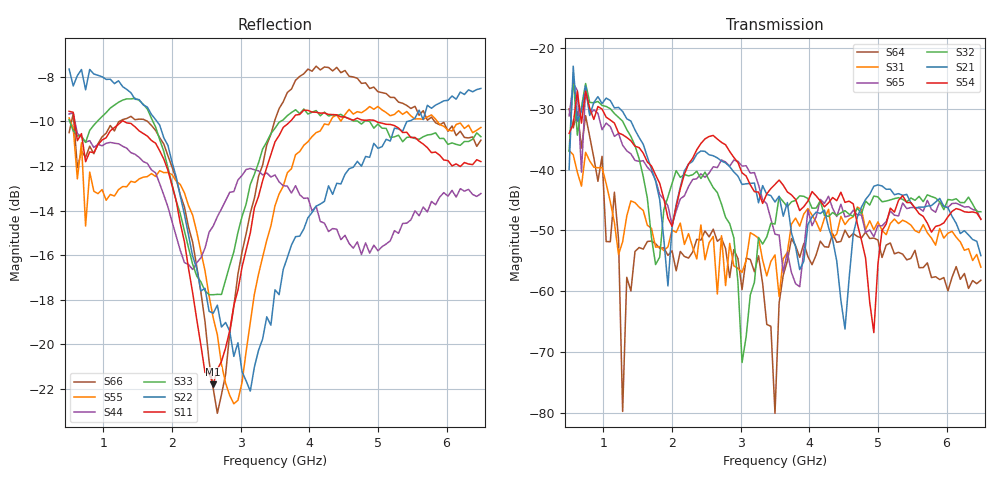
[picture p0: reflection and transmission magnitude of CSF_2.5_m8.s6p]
!Keysight Technologies,M9804A,MY58100912,A.14.10.03
!Date: Thursday, April 27, 2023 10:28:33
!Correction: S11(C  6-Port  )
!S12(C  6-Port  )
!S13(C  6-Port  )
!S14(C  6-Port  )
!S15(C  6-Port  )
!S16(C  6-Port  )
!S21(C  6-Port  )
!S22(C  6-Port  )
!S23(C  6-Port  )
!S24(C  6-Port  )
!S25(C  6-Port  )
!S26(C  6-Port  )
!S31(C  6-Port  )
!S32(C  6-Port  )
!S33(C  6-Port  )
!S34(C  6-Port  )
!S35(C  6-Port  )
!S36(C  6-Port  )
!S41(C  6-Port  )
!S42(C  6-Port  )
!S43(C  6-Port  )
!S44(C  6-Port  )
!S45(C  6-Port  )
!S46(C  6-Port  )
!S51(C  6-Port  )
!S52(C  6-Port  )
!S53(C  6-Port  )
!S54(C  6-Port  )
!S55(C  6-Port  )
!S56(C  6-Port  )
!S61(C  6-Port  )
!S62(C  6-Port  )
!S63(C  6-Port  )
!S64(C  6-Port  )
!S65(C  6-Port  )
!S66(C  6-Port  )
!S6P File: Measurement: :
# Hz S  RI  R 50
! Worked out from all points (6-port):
!   101 points, 500 MHz to 6.5 GHz, reference 50 ohm
!   strongest paths, dB at 500 MHz, 2 GHz, 3.5 GHz, 5 GHz, 6.5 GHz:
!     S54: -34.1, -49.3, -42.5, -55.5, -48.2
!     S21: -40.0, -49.5, -45.3, -42.5, -54.2
!     S32: -37.0, -42.3, -49.0, -44.5, -47.0
!     S65: -31.2, -49.1, -50.6, -49.2, -48.2
!     S31: -36.8, -50.0, -54.1, -48.6, -56.1
!     S64: -30.0, -53.4, -80.1, -51.6, -58.2
!   lowest |S11| = -21.8 dB at 2.6 GHz (marker M1), VSWR 1.18, Z = 42.7 + j1.94 ohm
!   |S11| at or under -10 dB: 579.4 MHz to 1.267 GHz (687.5 MHz wide, 74.5 % of centre); 1.301 GHz to 3.721 GHz (2.42 GHz wide, 96.4 % of centre); 4.975 GHz to end of sweep
